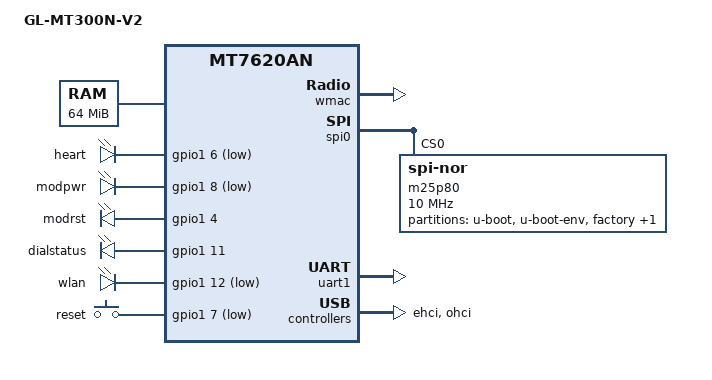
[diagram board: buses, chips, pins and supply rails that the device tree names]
/dts-v1/;

#include "mt7628an.dtsi"

#include <dt-bindings/gpio/gpio.h>
#include <dt-bindings/input/input.h>

/{
	compatible = "glinet,gl-mt300n-v2", "ralink,mt7620an-soc";
	model = "GL-MT300N-V2";

	chosen {
		bootargs = "console=ttyS0,57600";
	};

	memory@0 {
		device_type = "memory";
		reg = <0x0 0x4000000>;
	};

	gpio-leds {
		compatible = "gpio-leds";

		heart {
			label = "heart";
			linux,default-trigger = "timer";
			gpios = <&gpio1 6 GPIO_ACTIVE_LOW>;
		};
		modpwr {
			label = "modpwr";
			gpios = <&gpio1 8 1>;
		};
		modrst {
			label = "modrst";
			gpios = <&gpio1 4 0>;
		};
		dialstatus {
			label = "dialstatus";
			gpios = <&gpio1 11 0>;
		};
		wlan {
			label = "wlan";
			gpios = <&gpio1 12 GPIO_ACTIVE_LOW>;
		};
	};

	gpio-keys {
		compatible = "gpio-keys-polled";
		#address-cells = <1>;
		#size-cells = <0>;
		poll-interval = <20>;

		reset {
			label = "reset";
			gpios = <&gpio1 7 GPIO_ACTIVE_LOW>;
			linux,code = <KEY_RESTART>;
		};
	};
};

&pinctrl {
	state_default: pinctrl0 {
		gpio {
			ralink,group = "spi cs1","perst","wdt", "gpio", "wled_an", "p0led_an", "p1led_an","p2led_an", "p3led_an","p4led_an","i2s", "i2c";
			ralink,function = "gpio";
		};
	};
};

&ethernet {
	mtd-mac-address = <&factory 0x4>;
};

&wmac {
	status = "okay";
	ralink,mtd-eeprom = <&factory 0x0>;
};

&spi0 {
	status = "okay";

	m25p80@0 {
		#address-cells = <1>;
		#size-cells = <1>;
		compatible = "jedec,spi-nor";
		reg = <0>;
		spi-max-frequency = <10000000>;
		m25p,chunked-io = <32>;

		partition@0 {
			label = "u-boot";
			reg = <0x0 0x30000>;
			read-only;
		};

		partition@30000 {
			label = "u-boot-env";
			reg = <0x30000 0x10000>;
			read-only;
		};

		factory: partition@40000 {
			 label = "factory";
			 reg = <0x40000 0x10000>;
			 read-only;
		};

		partition@50000 {
			 label = "firmware";
			 reg = <0x50000 0x0fb0000>;
		};
	};
};

&uart1 {
	status = "okay";
};

&ehci {
	status = "okay";
};

&ohci {
	status = "okay";
};
